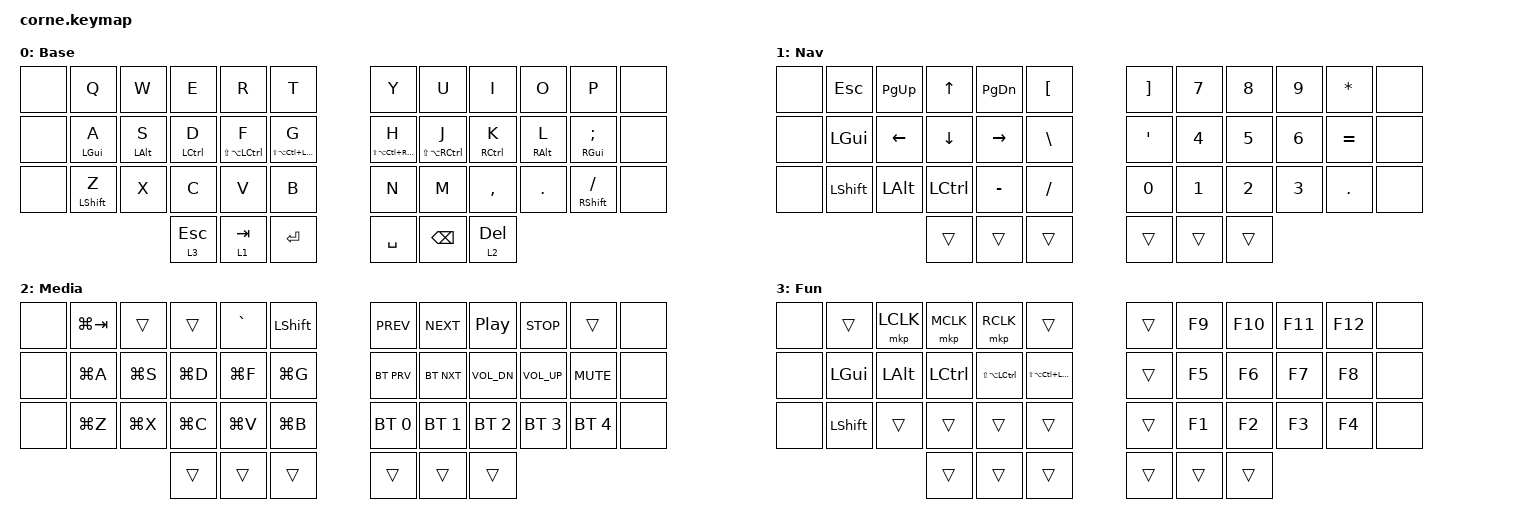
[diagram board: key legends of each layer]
#include <dt-bindings/zmk/mouse.h>
#include <behaviors.dtsi>
#include <dt-bindings/zmk/bt.h>
#include <dt-bindings/zmk/keys.h>
#include <dt-bindings/zmk/pointing.h>

#define DEFAULT 0
#define LOWER 1
#define RAISE 2
#define TOGGLE 3

&lt {
    flavor = "balanced";
    tapping-term-ms = <300>;
};

/ {
    behaviors {
        mo_tog: behavior_mo_tog {
            compatible = "zmk,behavior-hold-tap";
            label = "mo_tog";
            flavor = "hold-preferred";
            #binding-cells = <2>;
            tapping-term-ms = <300>;
            bindings = <&mo>, <&tog>;
        };

        hm: homerow_mods {
            compatible = "zmk,behavior-hold-tap";
            label = "HOMEROW_MODS";
            #binding-cells = <2>;
            tapping-term-ms = <300>;
            quick-tap-ms = <0>;
            flavor = "tap-preferred";
            bindings = <&kp>, <&kp>;
        };

        tm: tm {
            compatible = "zmk,behavior-hold-tap";
            label = "TM";
            #binding-cells = <2>;
            tapping-term-ms = <300>;
            quick-tap-ms = <0>;
            flavor = "tap-preferred";
            bindings = <&mo>, <&kp>;
        };
    };

    combos {
        compatible = "zmk,combos";

        BT_Clear {
            bindings = <&bt BT_CLR_ALL>;
            key-positions = <9 1 6 5>;
        };

        CapsLock {
            bindings = <&kp CAPSLOCK>;
            key-positions = <1 10>;
        };
    };

    keymap {
        compatible = "zmk,keymap";

        Base {
            bindings = <
&none  &kp Q        &kp W       &kp E        &kp R                &kp T                         &kp Y                   &kp U                &kp I        &kp O       &kp P            &none
&none  &hm LGUI A   &hm LALT S  &hm LCTRL D  &hm LS(LA(LCTRL)) F  &hm LS(LA(LC(LEFT_GUI))) G    &hm LS(LA(LC(RGUI))) H  &hm LS(LA(RCTRL)) J  &hm RCTRL K  &hm RALT L  &hm RGUI SEMI    &none
&none  &hm LSHFT Z  &kp X       &kp C        &kp V                &kp B                         &kp N                   &kp M                &kp COMMA    &kp DOT     &hm RSHFT SLASH  &none
                                &tm 3 ESC    &tm 1 TAB            &kp RET                       &kp SPACE               &kp BSPC             &tm 2 DEL
            >;
        };

        Nav {
            bindings = <
&none  &kp ESCAPE    &kp PG_UP  &kp UP     &kp PG_DN  &kp LBKT    &kp RBKT  &kp N7  &kp N8  &kp N9  &kp ASTERISK  &none
&none  &kp LEFT_GUI  &kp LEFT   &kp DOWN   &kp RIGHT  &kp BSLH    &kp SQT   &kp N4  &kp N5  &kp N6  &kp EQUAL     &none
&none  &kp LSHFT     &kp LALT   &kp LCTRL  &kp MINUS  &kp FSLH    &kp N0    &kp N1  &kp N2  &kp N3  &kp PERIOD    &none
                                &trans     &trans     &trans      &trans    &trans  &trans
            >;
        };

        Media {
            bindings = <
&none  &kp LG(TAB)  &trans     &trans     &kp GRAVE  &kp LSHFT    &kp C_PREV    &kp K_NEXT    &kp C_PLAY_PAUSE  &kp C_STOP    &trans        &none
&none  &kp LG(A)    &kp LG(S)  &kp LG(D)  &kp LG(F)  &kp LG(G)    &bt BT_PRV    &bt BT_NXT    &kp C_VOL_DN      &kp C_VOL_UP  &kp C_MUTE    &none
&none  &kp LG(Z)    &kp LG(X)  &kp LG(C)  &kp LG(V)  &kp LG(B)    &bt BT_SEL 0  &bt BT_SEL 1  &bt BT_SEL 2      &bt BT_SEL 3  &bt BT_SEL 4  &none
                               &trans     &trans     &trans       &trans        &trans        &trans
            >;
        };

        Fun {
            bindings = <
&none  &trans        &mkp LCLK     &mkp MCLK  &mkp RCLK          &trans                  &trans  &kp F9  &kp F10  &kp F11  &kp F12  &none
&none  &kp LEFT_GUI  &kp LEFT_ALT  &kp LCTRL  &kp LS(LA(LCTRL))  &kp LS(LA(LC(LGUI)))    &trans  &kp F5  &kp F6   &kp F7   &kp F8   &none
&none  &kp LSHFT     &trans        &trans     &trans             &trans                  &trans  &kp F1  &kp F2   &kp F3   &kp F4   &none
                                   &trans     &trans             &trans                  &trans  &trans  &trans
            >;
        };
    };
};
